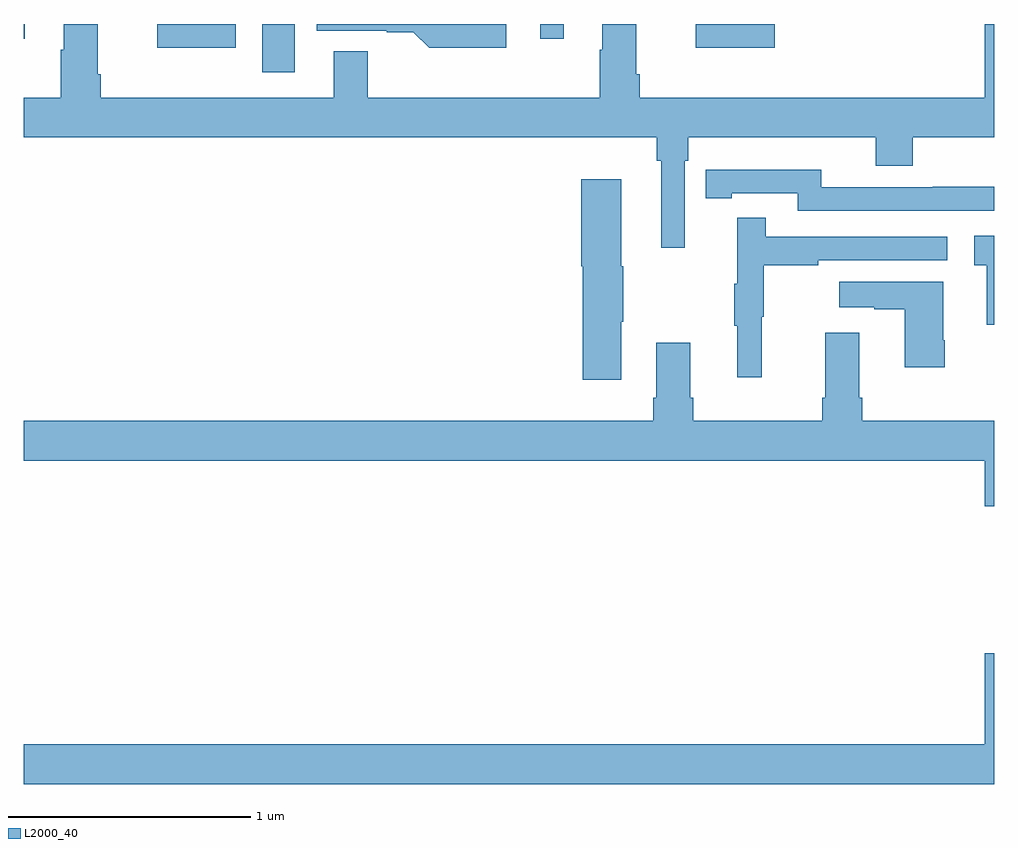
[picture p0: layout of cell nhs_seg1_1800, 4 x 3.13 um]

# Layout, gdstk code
import gdstk
lib = gdstk.Library(unit=1e-6, precision=1e-09)
def R(c, l, rs):  # rectangles x0, y0, x1, y1
    for r in rs: c.add(gdstk.rectangle(r[:2], r[2:], *l))
def P(c, l, *ps):  # polygons
    for p in ps: c.add(gdstk.Polygon(p, *l))
L2000_40 = (2000, 40)

nhs_seg1_1800 = lib.new_cell('nhs_seg1_1800')
R(nhs_seg1_1800, L2000_40, [(209.984,552,210.118,552.199), (209,552.138,209.005,552.199), (211.128,552.138,211.225,552.199)])
P(nhs_seg1_1800, L2000_40, [(211.725,551.636),(211.739,551.636),(211.739,551.732),(212.51,551.732),(212.51,551.615),(212.663,551.615),(212.663,551.732),(213,551.732),(213,552.199),(212.96,552.199),(212.96,551.896),(211.538,551.896),(211.538,551.992),(211.525,551.992),(211.525,552.199),(211.385,552.199),(211.385,552.092),(211.373,552.092),(211.373,551.896),(210.418,551.896),(210.418,552.086),(210.278,552.086),(210.278,551.896),(209.318,551.896),(209.318,551.992),(209.305,551.992),(209.305,552.199),(209.165,552.199),(209.165,552.092),(209.153,552.092),(209.153,551.896),(209,551.896),(209,551.732),(211.609,551.732),(211.609,551.636),(211.628,551.636),(211.628,551.277),(211.725,551.277)],
  [(212.095,552.198),(211.866,552.198),(211.866,552.199),(211.77,552.199),(211.77,552.101),(212.095,552.101)],
  [(210.988,552.198),(210.759,552.198),(210.759,552.199),(210.207,552.199),(210.207,552.171),(210.497,552.171),(210.497,552.166),(210.605,552.166),(210.671,552.101),(210.988,552.101)],
  [(209.875,552.198),(209.646,552.198),(209.646,552.199),(209.55,552.199),(209.55,552.101),(209.875,552.101)],
  [(213,551.528),(212.746,551.528),(212.746,551.526),(212.286,551.526),(212.286,551.599),(211.918,551.599),(211.918,551.598),(211.81,551.598),(211.81,551.482),(211.918,551.482),(211.918,551.502),(212.19,551.502),(212.19,551.43),(213,551.43)],
  [(211.462,550.972),(211.47,550.972),(211.47,551.202),(211.462,551.202),(211.462,551.56),(211.298,551.56),(211.298,551.202),(211.304,551.202),(211.304,550.734),(211.462,550.734)],
  [(212.042,550.992),(212.05,550.992),(212.05,551.206),(212.273,551.206),(212.273,551.226),(212.806,551.226),(212.806,551.322),(212.057,551.322),(212.057,551.401),(211.94,551.401),(211.94,551.129),(211.929,551.129),(211.929,550.955),(211.94,550.955),(211.94,550.743),(212.042,550.743)],
  [(213,551.326),(212.916,551.326),(212.916,551.205),(212.969,551.205),(212.969,550.959),(213,550.959)],
  [(212.796,550.897),(212.788,550.897),(212.788,551.137),(212.361,551.137),(212.361,551.033),(212.504,551.033),(212.504,551.023),(212.63,551.023),(212.63,550.785),(212.796,550.785)],
  [(213,550.564),(212.456,550.564),(212.456,550.66),(212.443,550.66),(212.443,550.927),(212.303,550.927),(212.303,550.66),(212.291,550.66),(212.291,550.564),(211.76,550.564),(211.76,550.66),(211.747,550.66),(211.747,550.885),(211.607,550.885),(211.607,550.66),(211.595,550.66),(211.595,550.564),(209,550.564),(209,550.4),(212.96,550.4),(212.96,550.212),(213,550.212)],
  [(213,549.607),(212.96,549.607),(212.96,549.232),(209,549.232),(209,549.068),(213,549.068)])

lib.write_gds('nhs_seg1_1800.gds')
